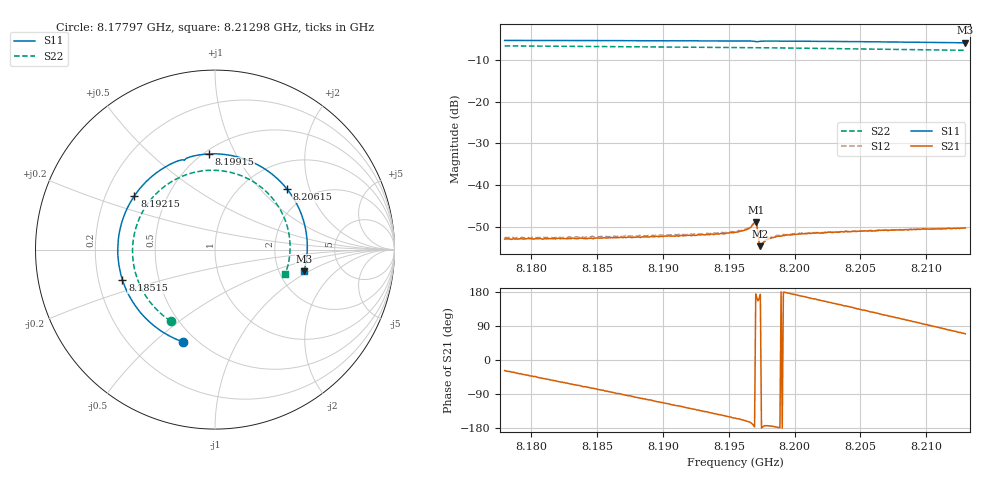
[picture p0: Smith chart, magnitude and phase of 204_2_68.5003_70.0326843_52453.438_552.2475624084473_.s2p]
#  HZ  S  RI  R  50.00
! Rohde & Schwarz Vector Network Analyzer
! Rohde-Schwarz,ZNB20-2Port,1311601062101988,3.16
! Created: UTC 3/20/2024, 4:57:45 PM
! freq[Hz]  re:S11  im:S11  re:S21  im:S21  re:S12  im:S12  re:S22  im:S22
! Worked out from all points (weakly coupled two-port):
!   401 points, 8.17797 GHz to 8.21298 GHz, reference 50 ohm
!   highest |S21| = -48.99 dB at 8.19705 GHz (marker M1); lowest = -54.7 dB at 8.1974 GHz (marker M2)
!   lowest |S11| = -5.8 dB at 8.21298 GHz (marker M3), VSWR 3.08, Z = 137 - j45.1 ohm
!   |S11| at or under -10 dB: nowhere
!   |S22| runs from -7.7 to -6.6 dB; largest |S21 - S12| = 0.00018
!   S11 on the Smith chart (normalised r, x): 8.17797 GHz: 0.42, -0.62; 8.18515 GHz: 0.30, -0.15; 8.19215 GHz: 0.32, +0.27; 8.19915 GHz: 0.53, +0.78; 8.20615 GHz: 1.53, +1.43; 8.21298 GHz: 2.75, -0.90
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8.17797e9  -0.1811 -0.5132  0.00198 -0.00104  0.00206 -0.00113  -0.2459 -0.3984
8.180771e9  -0.3483 -0.4176  0.00152 -0.00167  0.00154 -0.00172  -0.3615 -0.2929
8.183834e9  -0.4806 -0.2531  0.000809 -0.00214  0.000833 -0.00222  -0.4396 -0.1421
8.185147e9  -0.5157 -0.1687  0.000457 -0.00225  0.000451 -0.00234  -0.4552 -0.071
8.187335e9  -0.5416 -0.0188  -0.000176 -0.00235  -0.000218 -0.00242  -0.4557 0.0502
8.189698e9  -0.5213 0.1448  -0.000839 -0.00222  -0.000929 -0.0023  -0.4206 0.1761
8.192148e9  -0.449 0.2998  -0.00153 -0.00193  -0.00166 -0.00198  -0.3476 0.2904
8.195474e9  -0.2794 0.4591  -0.0024 -0.00122  -0.00252 -0.00112  -0.2001 0.4009
8.196349e9  -0.2237 0.4875  -0.00274 -0.000929  -0.00281 -0.000857  -0.1545 0.4193
8.196874e9  -0.1862 0.4997  -0.00335 -0.000483  -0.00344 -0.000325  -0.1262 0.4277
8.196962e9  -0.1794 0.5001  -0.00348 -0.000202  -0.00358 -4.51e-05  -0.1215 0.4289
8.197049e9  -0.1733 0.499  -0.00353 0.000351  -0.00362 0.000509  -0.1166 0.4299
8.197399e9  -0.1605 0.5077  -0.00182 0.000221  -0.00186 0.000307  -0.0975 0.4341
8.197487e9  -0.1544 0.5108  -0.00192 -9.22e-06  -0.00195 7.71e-05  -0.0927 0.4351
8.198187e9  -0.1043 0.5247  -0.00227 -0.000219  -0.00234 -0.000157  -0.0535 0.4406
8.19915e9  -0.0362 0.5328  -0.00245 5.35e-05  -0.00253 0.000143  0.00103 0.4421
8.201338e9  0.1176 0.5184  -0.0025 0.000809  -0.00251 0.000928  0.1234 0.4202
8.203613e9  0.2656 0.4569  -0.00224 0.0016  -0.00216 0.00167  0.2395 0.3612
8.206151e9  0.4003 0.3385  -0.00158 0.0023  -0.0015 0.00239  0.3427 0.256
8.207201e9  0.4428 0.2772  -0.00125 0.00256  -0.00121 0.00265  0.374 0.2026
8.210089e9  0.5098 0.0837  -0.000166 0.00295  -4.72e-05 0.00294  0.4179 0.0366
8.212977e9  0.4956 -0.1214  0.00108 0.00284  0.00114 0.00282  0.391 -0.1373
